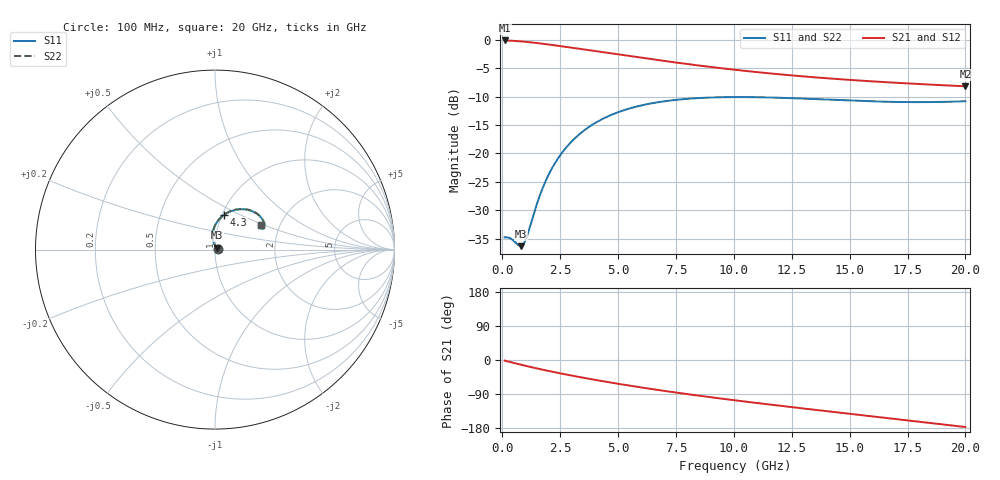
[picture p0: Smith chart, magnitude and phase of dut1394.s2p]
! Touchstone file exported from HFSS 2024.1.0
!  File:  C:/UserFiles/LocalFiles/RDL_TSV_Batchsim/temp_RDL_TSV_1394_1780404562.aedt
!  Generated:  09:05:19 PM Jun  2, 2026
!  Design:  RDL_TSV
!  Project:  temp_RDL_TSV_1394_1780404562
!  Setup:  Setup1
!  Solution:  Sweep
! Variables:
!  dtsv = 11.15um
!  hbump = 3um
!  htsv = 64.09um
!  ldown = 508.1um
!  lrdl = 242.59um
!  p = 40
!  p1 = 48.08um
!  rhole = 10um
!  subl = 2494.66um
!  t = 450um
!  tdown = 2.04um
!  trdl = 3.68um
!  viad = 10um
!  wdown = 21.11um
!  wrdl = 16.56um
!  xbump = 18um
# GHz S MA R 50.000000
! Terminal data exported
! Port[1] = TM1_1_T1
! Port[2] = TM1_4_T1
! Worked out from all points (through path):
!   200 points, 100 MHz to 20 GHz, reference 50 ohm
!   highest |S21| = -0.16 dB at 100 MHz (marker M1); lowest = -8.2 dB at 20 GHz (marker M2)
!   group delay of S21, straight-line fit = 23.1 ps
!   lowest |S11| = -36.3 dB at 800 MHz (marker M3), VSWR 1.03, Z = 51.1 + j1.14 ohm
!   |S11| at or under -10 dB: start of sweep to end of sweep
!   |S22| runs from -36.3 to -10.0 dB; largest |S21 - S12| = 9.8e-15
!   S11 on the Smith chart (normalised r, x): 100 MHz: 1.04, +0.00; 4.3 GHz: 1.02, +0.41; 20 GHz: 1.59, +0.47
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0.1  0.01838 4.4  0.9812 -1.6  0.9812 -1.6  0.01838 4.4
! Gamma 0 0 0 0
! Port Impedance 50 0 50 0
0.4  0.01778 16.5  0.976 -6.3  0.976 -6.3  0.01777 16.5
0.7  0.01565 36.2  0.967 -10.9  0.967 -10.9  0.01562 36.3
0.8  0.01538 46.7  0.9634 -12.4  0.9634 -12.4  0.01535 46.9
0.9  0.01584 58.6  0.9595 -13.8  0.9595 -13.8  0.01583 58.9
1  0.01726 70.2  0.9553 -15.3  0.9553 -15.3  0.01727 70.5
1.6  0.04167 101.0  0.9261 -23.7  0.9261 -23.7  0.04183 101.2
1.8  0.05301 102.1  0.9153 -26.3  0.9153 -26.3  0.05323 102.3
2.1  0.07125 101.0  0.8986 -30.2  0.8986 -30.2  0.07154 101.1
2.4  0.09016 98.3  0.8817 -34.0  0.8817 -34.0  0.09054 98.4
2.7  0.1092 94.9  0.8647 -37.6  0.8647 -37.6  0.1096 95.0
3.1  0.134 89.9  0.8422 -42.3  0.8422 -42.3  0.1345 90.1
3.5  0.1575 84.9  0.82 -46.9  0.82 -46.9  0.1582 85.1
4.3  0.1996 75.4  0.7769 -55.5  0.7769 -55.5  0.2005 75.5
5.4  0.2451 63.8  0.7211 -66.7  0.7211 -66.7  0.2462 64.0
6.8  0.2833 51.8  0.657 -79.8  0.657 -79.8  0.2847 52.0
8.4  0.3058 41.3  0.5946 -93.4  0.5946 -93.4  0.3074 41.5
10.1  0.3127 33.2  0.541 -106.7  0.541 -106.7  0.3145 33.3
11.7  0.3094 28.0  0.501 -118.6  0.501 -118.6  0.3113 28.1
13.4  0.3007 24.7  0.4674 -130.8  0.4674 -130.8  0.3026 24.9
16.7  0.2842 24.1  0.4208 -153.8  0.4208 -153.8  0.286 24.3
20  0.2876 28.1  0.3885 -176.8  0.3885 -176.8  0.2893 28.3
